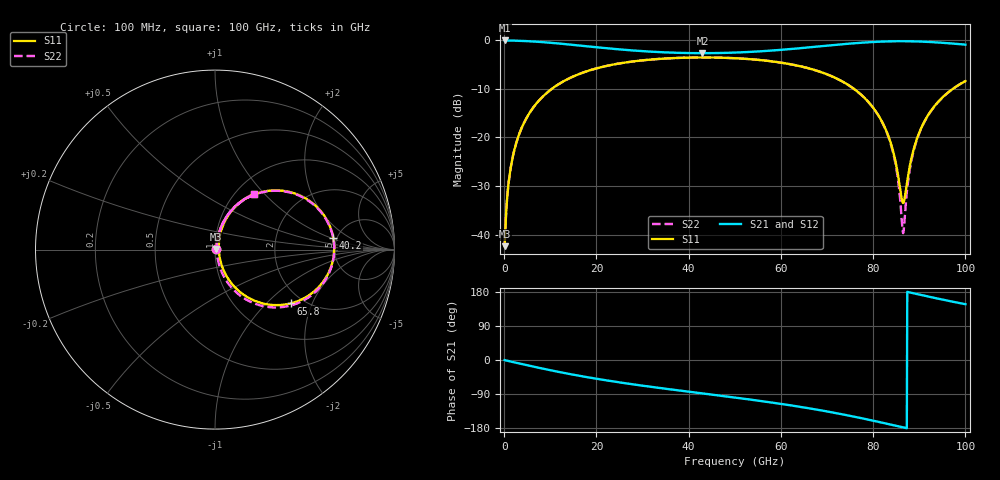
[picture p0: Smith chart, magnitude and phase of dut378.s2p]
! Touchstone file exported from HFSS 2026.1.0
!  File:  C:/ffzhzh/LocalFiles/Ansys_Project_Files/temp_train_RDL_378_1783503698_41296.aedt
!  Generated:  05:43:07 PM Jul  8, 2026
!  Design:  RDL
!  Project:  temp_train_RDL_378_1783503698_41296
! Variables:
!  h_bsmrdl = 2um
!  h_ox = 20um
!  h_rdl = 5um
!  h_sub = 80um
!  h_tmrdl = 2.02um
!  h_tsv = 80um
!  h_via = 3um
!  l_bsmrdl = 300um
!  l_sub = 1075.61um
!  l_tmrdl = 675.61um
!  m_sub = 200um
!  pitch = 54.22um
!  r_tsv = 6um
!  s_tmrdl = 10um
!  w_bsmrdl = 18um
!  w_sub = 500um
!  w_tmrdl = 17.96um
!  x_tsv_center1 = 684.59um
!  x_tsv_center2 = 1002.59um
!  x_tsv_center3 = 1696.16um
!  x_tsv_center4 = 2014.16um
!  x_tsv_center5 = 2707.73um
!  x_tsv_center6 = 3025.73um
# GHz S MA R 50.000000
! Terminal data exported
! Port[1] = TM_RDL1_1_T1
! Port[2] = TM_RDL1_1_T2
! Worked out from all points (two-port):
!   1000 points, 100 MHz to 100 GHz, reference 50 ohm
!   highest |S21| = -0.06 dB at 100 MHz (marker M1); lowest = -2.7 dB at 43 GHz (marker M2)
!   |S21| within 3 dB of the highest: start of sweep to end of sweep
!   lowest |S11| = -42.3 dB at 100 MHz (marker M3), VSWR 1.02, Z = 50.7 + j0.36 ohm
!   |S11| at or under -10 dB: start of sweep to 10.35 GHz; 75.82 GHz to 97.28 GHz (21.46 GHz wide, 24.8 % of centre)
!   |S22| runs from -42.3 to -3.6 dB; largest |S21 - S12| = 1.8e-14
!   S11 on the Smith chart (normalised r, x): 100 MHz: 1.01, +0.01; 40.2 GHz: 4.65, +1.10; 65.8 GHz: 1.72, -1.41; 100 GHz: 1.21, +0.88
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0.1  0.007632 27.7  0.9933 -0.3  0.9933 -0.3  0.007632 27.7
! Gamma 0 0 0 0
! Port Impedance 50 0 50 0
0.9  0.03195 73.1  0.9916 -2.6  0.9916 -2.6  0.03195 73.1
1.6  0.05458 76.5  0.99 -4.5  0.99 -4.5  0.05458 76.5
4.3  0.1411 74.3  0.9807 -12.0  0.9807 -12.0  0.1411 74.2
9.2  0.2857 63.1  0.9479 -24.9  0.9479 -24.9  0.2857 62.9
16.8  0.459 45.9  0.8762 -42.8  0.8762 -42.8  0.459 45.5
33.4  0.6409 16.1  0.7549 -73.3  0.7549 -73.3  0.641 15.3
40.2  0.6623 5.8  0.7368 -83.9  0.7368 -83.9  0.6624 4.8
43  0.6643 1.6  0.7351 -88.2  0.7351 -88.2  0.6645 0.6
50.1  0.6521 -9.0  0.7457 -99.2  0.7457 -99.2  0.6523 -10.2
65.8  0.5168 -35.5  0.8406 -126.9  0.8406 -126.9  0.5169 -37.4
66.7  0.5031 -37.2  0.8485 -128.7  0.8485 -128.7  0.5032 -39.2
77.4  0.275 -59.4  0.9412 -153.4  0.9412 -153.4  0.2748 -62.8
80.9  0.1757 -65.8  0.9626 -162.5  0.9626 -162.5  0.1751 -70.6
83.4  0.1002 -67.1  0.9721 -169.3  0.9721 -169.3  0.09873 -74.7
84.9  0.05497 -60.7  0.975 -173.4  0.975 -173.4  0.05199 -73.3
86.2  0.02322 -20.9  0.9758 -177.0  0.9758 -177.0  0.01418 -41.2
86.5  0.02121 2.6  0.9757 -177.8  0.9757 -177.8  0.01039 0.3
88.3  0.06096 67.1  0.9735 177.3  0.9735 177.3  0.05791 75.6
90.5  0.1274 72.1  0.9666 171.3  0.9666 171.3  0.1259 75.3
94.4  0.2407 66.5  0.9447 161.0  0.9447 161.0  0.2399 67.3
100  0.3798 54.9  0.8992 147.3  0.8992 147.3  0.3792 54.6
